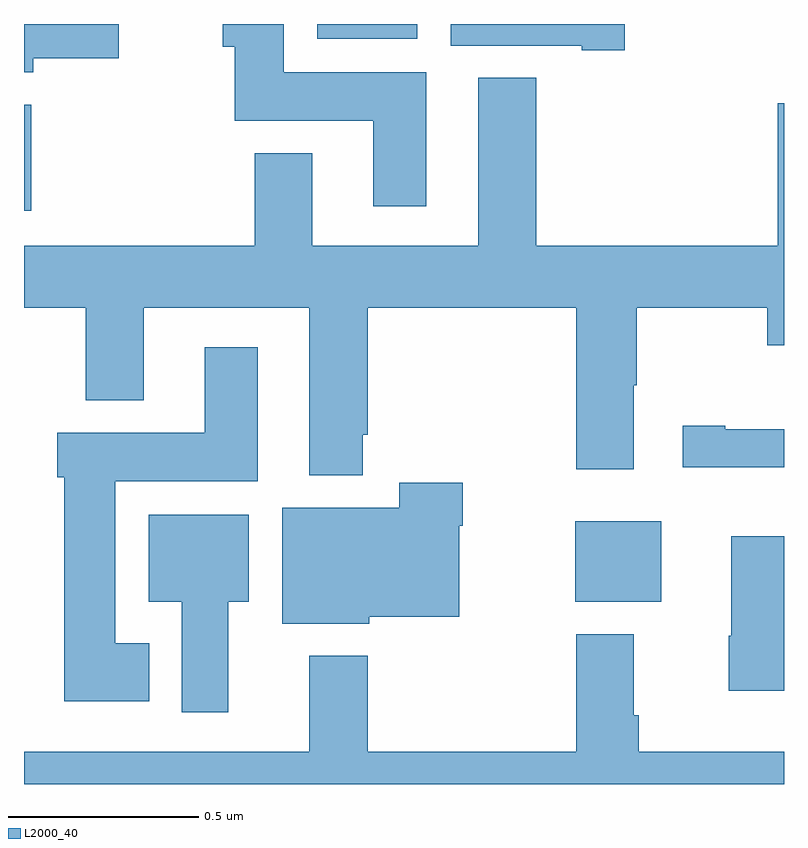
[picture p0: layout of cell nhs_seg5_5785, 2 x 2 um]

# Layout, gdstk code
import gdstk
lib = gdstk.Library(unit=1e-6, precision=1e-09)
def R(c, l, rs):  # rectangles x0, y0, x1, y1
    for r in rs: c.add(gdstk.rectangle(r[:2], r[2:], *l))
def P(c, l, *ps):  # polygons
    for p in ps: c.add(gdstk.Polygon(p, *l))
L2000_40 = (2000, 40)

nhs_seg5_5785 = lib.new_cell('nhs_seg5_5785')
R(nhs_seg5_5785, L2000_40, [(188.45,897.278,188.677,897.49), (187,898.308,187.019,898.587), (187.772,898.76,188.035,898.799)])
P(nhs_seg5_5785, L2000_40, [(188.059,898.672),(187.684,898.672),(187.684,898.799),(187.523,898.799),(187.523,898.739),(187.555,898.739),(187.555,898.544),(187.919,898.544),(187.919,898.32),(188.059,898.32)],
  [(188.581,898.799),(188.123,898.799),(188.123,898.742),(188.468,898.742),(188.468,898.73),(188.581,898.73)],
  [(187.024,898.709),(187.249,898.709),(187.249,898.799),(187,898.799),(187,898.672),(187.024,898.672)],
  [(187.891,897.718),(187.904,897.718),(187.904,898.052),(188.453,898.052),(188.453,897.627),(188.605,897.627),(188.605,897.848),(188.613,897.848),(188.613,898.052),(188.956,898.052),(188.956,897.953),(189,897.953),(189,898.591),(188.984,898.591),(188.984,898.216),(188.348,898.216),(188.348,898.657),(188.195,898.657),(188.195,898.216),(187.759,898.216),(187.759,898.459),(187.607,898.459),(187.607,898.216),(187,898.216),(187,898.052),(187.163,898.052),(187.163,897.809),(187.315,897.809),(187.315,898.052),(187.751,898.052),(187.751,897.611),(187.891,897.611)],
  [(187.33,897.169),(187.24,897.169),(187.24,897.596),(187.615,897.596),(187.615,897.949),(187.475,897.949),(187.475,897.724),(187.088,897.724),(187.088,897.606),(187.106,897.606),(187.106,897.017),(187.33,897.017)],
  [(189,897.732),(188.845,897.732),(188.845,897.742),(188.733,897.742),(188.733,897.632),(189,897.632)],
  [(187.908,897.239),(188.146,897.239),(188.146,897.479),(188.154,897.479),(188.154,897.592),(187.988,897.592),(187.988,897.526),(187.679,897.526),(187.679,897.221),(187.908,897.221)],
  [(187.537,897.278),(187.591,897.278),(187.591,897.508),(187.328,897.508),(187.328,897.278),(187.415,897.278),(187.415,896.988),(187.537,896.988)],
  [(189,897.451),(188.861,897.451),(188.861,897.189),(188.855,897.189),(188.855,897.045),(189,897.045)],
  [(189,896.884),(188.618,896.884),(188.618,896.98),(188.605,896.98),(188.605,897.193),(188.453,897.193),(188.453,896.884),(187.904,896.884),(187.904,897.136),(187.751,897.136),(187.751,896.884),(187,896.884),(187,896.799),(189,896.799)])

lib.write_gds('nhs_seg5_5785.gds')
